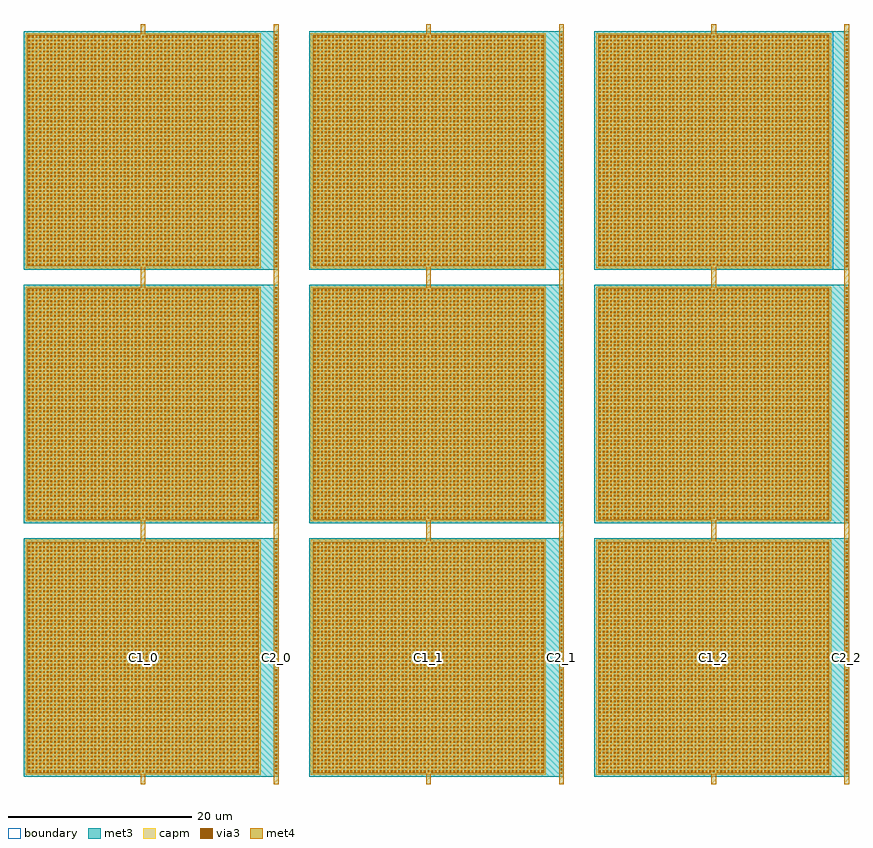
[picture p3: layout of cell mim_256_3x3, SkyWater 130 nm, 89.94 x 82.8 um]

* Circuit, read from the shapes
.subckt mim_256_3x3 C1_0 C1_1 C1_2 C2_0 C2_1 C2_2
XC1 C1_0 C2_0 sky130_fd_pr__cap_mim_m3_1 w=25.6 l=25.6 m=3
XC2 C1_1 C2_1 sky130_fd_pr__cap_mim_m3_1 w=25.6 l=25.6 m=3
XC3 C1_2 C2_2 sky130_fd_pr__cap_mim_m3_1 w=25.6 l=25.6 m=3
.ends

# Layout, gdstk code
import gdstk
lib = gdstk.Library(unit=1e-6, precision=1e-09)
def R(c, l, rs):  # rectangles x0, y0, x1, y1
    for r in rs: c.add(gdstk.rectangle(r[:2], r[2:], *l))
def A(c, l, x, y, w, h, nx, ny, dx, dy):  # array of equal rectangles
    R(c, l, [(x+i*dx, y+j*dy, x+i*dx+w, y+j*dy+h) for i in range(nx) for j in range(ny)])
met3 = (70, 20)
via3 = (70, 44)
met4 = (71, 20)
capm = (89, 44)
boundary = (235, 4)

mim_256_3x3 = lib.new_cell('mim_256_3x3')
A(mim_256_3x3, met3, -44.97, -40.6, 27.76, 26, 3, 3, 31.09, 27.6)
A(mim_256_3x3, via3, -17.57, -40.3, 0.2, 0.2, 3, 64, 31.09, 0.4)
A(mim_256_3x3, via3, -44.47, -40.1, 0.2, 0.2, 63, 63, 0.4, 0.4)
A(mim_256_3x3, via3, -13.38, -40.1, 0.2, 0.2, 63, 63, 0.4, 0.4)
A(mim_256_3x3, via3, 17.71, -40.1, 0.2, 0.2, 63, 63, 0.4, 0.4)
A(mim_256_3x3, via3, -17.57, -12.7, 0.2, 0.2, 3, 64, 31.09, 0.4)
A(mim_256_3x3, via3, -44.47, -12.5, 0.2, 0.2, 63, 63, 0.4, 0.4)
A(mim_256_3x3, via3, -13.38, -12.5, 0.2, 0.2, 63, 63, 0.4, 0.4)
A(mim_256_3x3, via3, 17.71, -12.5, 0.2, 0.2, 63, 63, 0.4, 0.4)
A(mim_256_3x3, via3, -17.57, 14.9, 0.2, 0.2, 3, 64, 31.09, 0.4)
A(mim_256_3x3, via3, -44.47, 15.1, 0.2, 0.2, 63, 63, 0.4, 0.4)
A(mim_256_3x3, via3, -13.38, 15.1, 0.2, 0.2, 63, 63, 0.4, 0.4)
A(mim_256_3x3, via3, 17.71, 15.1, 0.2, 0.2, 63, 63, 0.4, 0.4)
A(mim_256_3x3, met4, -32.23, -41.4, 0.52, 1.195, 3, 2, 31.09, 81.605)
A(mim_256_3x3, met4, -17.73, -41.4, 0.52, 82.8, 3, 1, 31.09, 0)
A(mim_256_3x3, met4, -44.575, -40.205, 25.21, 25.21, 3, 3, 31.09, 27.6)
A(mim_256_3x3, met4, -32.23, -14.995, 0.52, 2.39, 3, 2, 31.09, 27.6)
A(mim_256_3x3, capm, -44.77, -40.4, 25.6, 25.6, 3, 3, 31.09, 27.6)
R(mim_256_3x3, boundary, [(17.21,14.6,43.21,40.6)])
mim_256_3x3.add(gdstk.Label('C2_0', (-17.47,-27.6), layer=71, texttype=5))
mim_256_3x3.add(gdstk.Label('C1_0', (-31.97,-27.6), layer=71, texttype=5))
mim_256_3x3.add(gdstk.Label('C2_1', (13.62,-27.6), layer=71, texttype=5))
mim_256_3x3.add(gdstk.Label('C1_1', (-0.88,-27.6), layer=71, texttype=5))
mim_256_3x3.add(gdstk.Label('C2_2', (44.71,-27.6), layer=71, texttype=5))
mim_256_3x3.add(gdstk.Label('C1_2', (30.21,-27.6), layer=71, texttype=5))

lib.write_gds('mim_256_3x3.gds')
